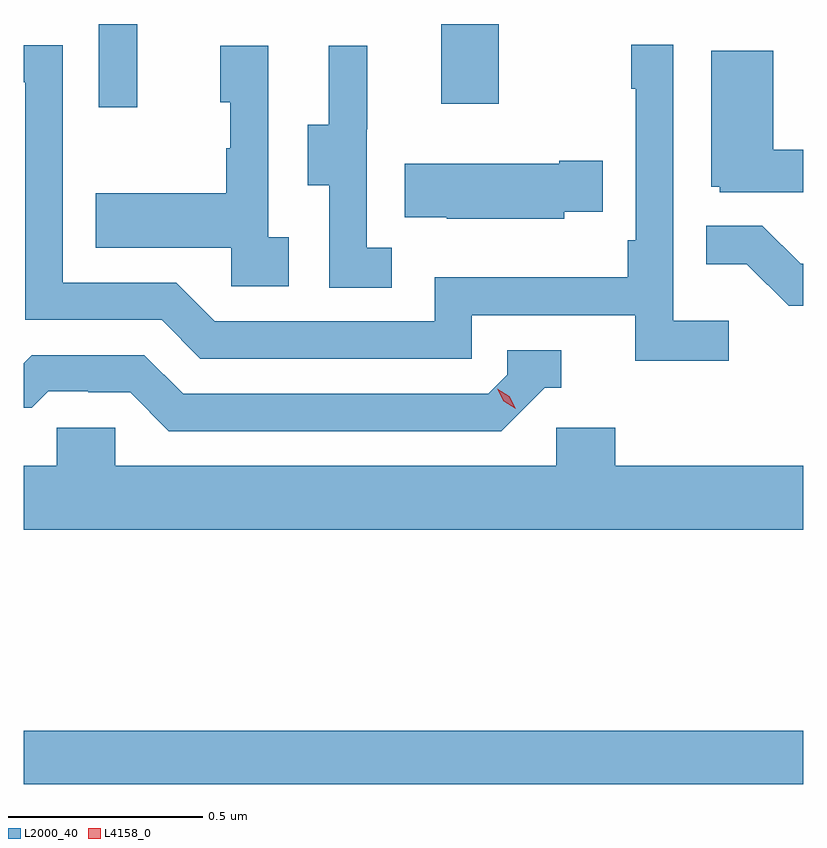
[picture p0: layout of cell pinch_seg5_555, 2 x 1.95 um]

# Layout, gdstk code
import gdstk
lib = gdstk.Library(unit=1e-6, precision=1e-09)
def R(c, l, rs):  # rectangles x0, y0, x1, y1
    for r in rs: c.add(gdstk.rectangle(r[:2], r[2:], *l))
def P(c, l, *ps):  # polygons
    for p in ps: c.add(gdstk.Polygon(p, *l))
L2000_40 = (2000, 40)
L4158_0 = (4158, 0)

pinch_seg5_555 = lib.new_cell('pinch_seg5_555')
R(pinch_seg5_555, L2000_40, [(974.99,849.448,976.99,849.584), (975.183,851.184,975.281,851.397), (976.061,851.193,976.209,851.397)])
P(pinch_seg5_555, L2000_40, [(976.798,850.636),(976.656,850.636),(976.656,851.344),(976.548,851.344),(976.548,851.231),(976.56,851.231),(976.56,850.843),(976.54,850.843),(976.54,850.747),(976.044,850.747),(976.044,850.635),(975.48,850.635),(975.381,850.734),(975.09,850.734),(975.09,851.343),(974.99,851.343),(974.99,851.247),(974.994,851.247),(974.994,850.638),(975.344,850.638),(975.443,850.539),(976.14,850.539),(976.14,850.65),(976.559,850.65),(976.559,850.534),(976.798,850.534)],
  [(975.934,850.823),(975.87,850.823),(975.87,851.127),(975.872,851.127),(975.872,851.341),(975.773,851.341),(975.773,851.139),(975.719,851.139),(975.719,850.984),(975.774,850.984),(975.774,850.72),(975.934,850.72)],
  [(975.67,850.85),(975.618,850.85),(975.618,851.341),(975.494,851.341),(975.494,851.196),(975.52,851.196),(975.52,851.078),(975.51,851.078),(975.51,850.963),(975.175,850.963),(975.175,850.823),(975.522,850.823),(975.522,850.725),(975.67,850.725)],
  [(976.99,851.074),(976.912,851.074),(976.912,851.329),(976.754,851.329),(976.754,850.98),(976.776,850.98),(976.776,850.965),(976.99,850.965)],
  [(976.377,850.916),(976.475,850.916),(976.475,851.046),(976.364,851.046),(976.364,851.038),(975.967,851.038),(975.967,850.901),(976.075,850.901),(976.075,850.898),(976.377,850.898)],
  [(976.99,850.782),(976.983,850.782),(976.885,850.88),(976.741,850.88),(976.741,850.781),(976.845,850.781),(976.952,850.674),(976.99,850.674)],
  [(976.326,850.464),(976.369,850.464),(976.369,850.56),(976.23,850.56),(976.23,850.497),(976.182,850.449),(975.399,850.449),(975.3,850.548),(975.011,850.548),(974.99,850.527),(974.99,850.413),(975.011,850.413),(975.053,850.455),(975.156,850.455),(975.156,850.452),(975.263,850.452),(975.362,850.353),(976.215,850.353)],
  [(976.99,850.264),(976.508,850.264),(976.508,850.362),(976.356,850.362),(976.356,850.264),(975.225,850.264),(975.225,850.362),(975.075,850.362),(975.075,850.264),(974.99,850.264),(974.99,850.1),(976.99,850.1)])
P(pinch_seg5_555, L4158_0, [(976.252,850.41),(976.221,850.429),(976.205,850.462),(976.205,850.462),(976.205,850.462),(976.236,850.443),(976.252,850.41),(976.252,850.41)])

lib.write_gds('pinch_seg5_555.gds')
